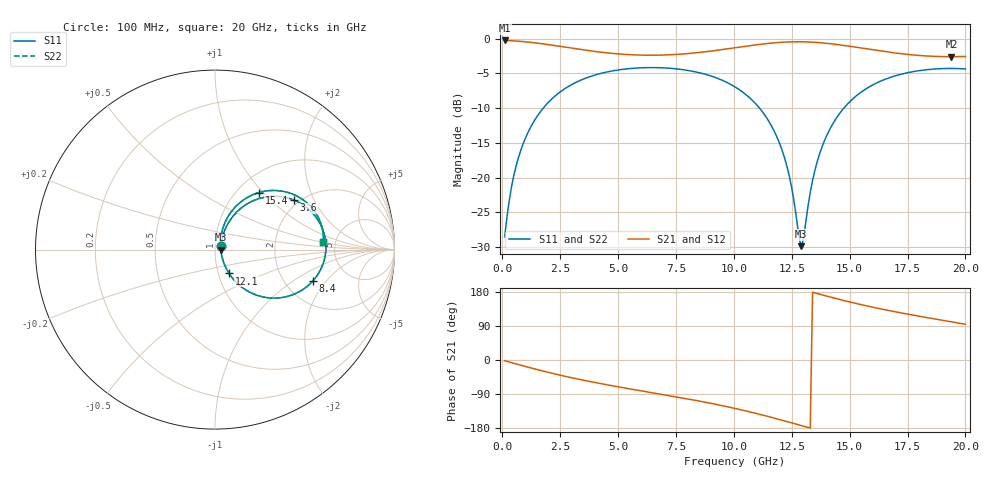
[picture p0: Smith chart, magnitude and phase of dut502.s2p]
! Touchstone file exported from HFSS 2026.1.0
!  File:  C:/ffzhzh/LocalFiles/Ansys_Project_Files/temp_train_TSV_RDL_502_1783107295_46604.aedt
!  Generated:  03:49:25 AM Jul  4, 2026
!  Design:  TSV_RDL
!  Project:  temp_train_TSV_RDL_502_1783107295_46604
! Variables:
!  h_bsmrdl = 3.7um
!  h_ox = 20um
!  h_rdl = 5um
!  h_sub = 66.51um
!  h_tmrdl = 3.09um
!  h_tsv = 66.51um
!  h_via = 3um
!  l_bsmrdl = 616.01um
!  l_sub = 4539.51um
!  l_tmrdl = 545.27um
!  m_sub = 200um
!  pitch = 50.7um
!  r_tsv = 4.6um
!  s_tmrdl = 10um
!  w_bsmrdl = 25.61um
!  w_sub = 500um
!  w_tmrdl = 11.19um
!  x_tsv_center1 = 550.865um
!  x_tsv_center2 = 1192.485um
!  x_tsv_center3 = 1748.945um
!  x_tsv_center4 = 2390.565um
!  x_tsv_center5 = 2947.025um
!  x_tsv_center6 = 3588.645um
# GHz S MA R 50.000000
! Terminal data exported
! Port[1] = TM_RDL1_1_T1
! Port[2] = TM_RDL5_1_T1
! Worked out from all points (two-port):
!   200 points, 100 MHz to 20 GHz, reference 50 ohm
!   highest |S21| = -0.28 dB at 100 MHz (marker M1); lowest = -2.6 dB at 19.4 GHz (marker M2)
!   |S21| within 3 dB of the highest: start of sweep to end of sweep
!   lowest |S11| = -29.8 dB at 12.9 GHz (marker M3), VSWR 1.07, Z = 53.3 - j0.0166 ohm
!   |S11| at or under -10 dB: start of sweep to 1.77 GHz; 11.11 GHz to 14.75 GHz (3.647 GHz wide, 28.2 % of centre)
!   |S22| runs from -29.8 to -4.2 dB; largest |S21 - S12| = 1.6e-14
!   S11 on the Smith chart (normalised r, x): 100 MHz: 1.07, +0.04; 3.6 GHz: 1.87, +1.41; 8.4 GHz: 2.84, -1.47; 12.1 GHz: 1.13, -0.31; 15.4 GHz: 1.25, +0.94; 20 GHz: 3.99, +0.50
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0.1  0.03747 31.2  0.9684 -1.8  0.9684 -1.8  0.03747 31.2
! Gamma 0 0 0 0
! Port Impedance 50 0 50 0
0.5  0.104 62.4  0.9614 -8.7  0.9614 -8.7  0.104 62.4
1.2  0.2265 60.8  0.9399 -20.3  0.9399 -20.3  0.2265 60.8
2.2  0.3761 49.1  0.8932 -35.8  0.8932 -35.8  0.3761 49.1
3.5  0.5111 33.3  0.8281 -53.3  0.8281 -53.3  0.5111 33.3
3.6  0.5188 32.1  0.8237 -54.6  0.8237 -54.6  0.5188 32.1
5.2  0.6005 14.8  0.771 -72.9  0.771 -72.9  0.6005 14.8
6.8  0.6169 -1.2  0.7596 -89.7  0.7596 -89.7  0.6169 -1.2
8.4  0.573 -17.7  0.7903 -107.1  0.7903 -107.1  0.573 -17.7
10.1  0.4438 -37.4  0.8606 -128.5  0.8606 -128.5  0.4438 -37.4
11.3  0.2872 -52.3  0.9153 -146.2  0.9153 -146.2  0.2872 -52.3
12.1  0.1545 -59.4  0.9405 -159.2  0.9405 -159.2  0.1546 -59.4
12.5  0.08442 -55.6  0.9466 -166.0  0.9466 -166.0  0.08445 -55.6
12.9  0.03218 -0.3  0.9476 -172.8  0.9476 -172.8  0.03221 -0.3
13  0.03558 29.7  0.947 -174.5  0.947 -174.5  0.03561 29.7
13.4  0.09546 67.7  0.9414 178.7  0.9414 178.7  0.09546 67.7
13.7  0.1477 69.9  0.934 173.7  0.934 173.7  0.1477 69.9
14.2  0.2319 66.6  0.9165 165.6  0.9165 165.6  0.2319 66.6
15.4  0.4006 52.5  0.8593 147.5  0.8593 147.5  0.4006 52.5
16.7  0.5216 37.2  0.7977 130.5  0.7977 130.5  0.5216 37.2
19.4  0.6093 9.6  0.74 100.6  0.74 100.6  0.6093 9.6
20  0.6046 3.8  0.7433 94.3  0.7433 94.3  0.6046 3.8
